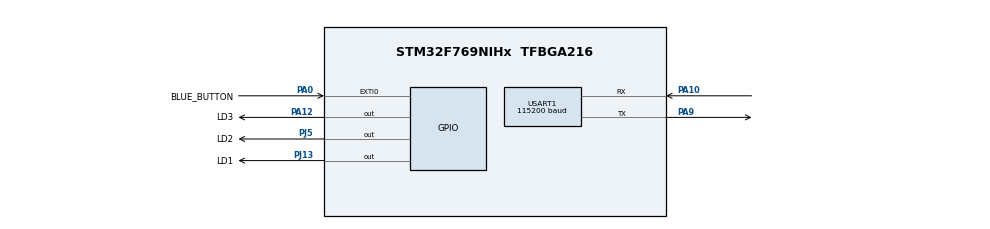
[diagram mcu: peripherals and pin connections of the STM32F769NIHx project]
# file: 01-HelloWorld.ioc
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Mcu.Family=STM32F7
Mcu.Name=STM32F769NIHx
Mcu.Package=TFBGA216
NVIC.EXTI0_IRQn=true\:0\:0\:false\:false\:true\:true\:true\:true
NVIC.PriorityGroup=NVIC_PRIORITYGROUP_4
NVIC.USART1_IRQn=true\:0\:0\:false\:false\:true\:true\:true\:true
PA0/WKUP.GPIO_Label=BLUE_BUTTON
PA0/WKUP.Signal=GPXTI0
PA10.Mode=Asynchronous
PA10.Signal=USART1_RX
PA12.GPIO_Label=LD3
PA12.Signal=GPIO_Output
PA13.Mode=Serial_Wire
PA13.Signal=SYS_JTMS-SWDIO
PA14.Mode=Serial_Wire
PA14.Signal=SYS_JTCK-SWCLK
PA9.Mode=Asynchronous
PA9.Signal=USART1_TX
PJ13.GPIO_Label=LD1
PJ13.Signal=GPIO_Output
PJ5.GPIO_Label=LD2
PJ5.Signal=GPIO_Output
ProjectManager.HeapSize=0x200
ProjectManager.StackSize=0x400
ProjectManager.TargetToolchain=STM32CubeIDE
RCC.HSE_VALUE=25000000
RCC.HSI_VALUE=16000000
RCC.LSE_VALUE=32768
RCC.USBFreq_Value=96000000
RCC.VCOOutputFreq_Value=192000000
USART1.BaudRate=115200
USART1.VirtualMode-Asynchronous=VM_ASYNC
board=custom

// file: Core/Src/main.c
/* USER CODE BEGIN Header */
/**
  ******************************************************************************
  * @file           : main.c
  * @brief          : Main program body
  ******************************************************************************
  * @attention
  *
  * <h2><center>&copy; Copyright (c) 2021 STMicroelectronics.
  * All rights reserved.</center></h2>
  *
  * This software component is licensed by ST under BSD 3-Clause license,
  * the "License"; You may not use this file except in compliance with the
  * License. You may obtain a copy of the License at:
  *                        opensource.org/licenses/BSD-3-Clause
  *
  ******************************************************************************
  */
/* USER CODE END Header */
#include "main.h"

/* USER CODE BEGIN PM */
#define LED_1_TASK_TIME       2000u   /* In milliseconds */
#define LED_2_TASK_TIME       1000u   /* In milliseconds */
#define DBG_UART_TASK_TIME    1000u   /* In milliseconds */
/* USER CODE END PM */

UART_HandleTypeDef huart1;

/* USER CODE BEGIN PV */
uint8_t led_1_state = FALSE;
uint8_t led_2_state = FALSE;
uint8_t led_3_state = FALSE;
uint8_t led_3_toggle = FALSE;

uint32_t led_1_timestamp = 0u;
uint32_t led_2_timestamp = 0u;
uint32_t dbg_uart_timestamp = 0u;

uint8_t rx_data = 0u;
/* USER CODE END PV */

void SystemClock_Config(void);
static void MX_GPIO_Init(void);
static void MX_USART1_UART_Init(void);

int main(void)
{

  /* MCU Configuration--------------------------------------------------------*/

  /* Reset of all peripherals, Initializes the Flash interface and the Systick. */
  HAL_Init();

  /* Configure the system clock */
  SystemClock_Config();

  /* Initialize all configured peripherals */
  MX_GPIO_Init();
  MX_USART1_UART_Init();
  /* USER CODE BEGIN 2 */
  led_1_timestamp = HAL_GetTick();
  led_2_timestamp = HAL_GetTick();
  dbg_uart_timestamp = HAL_GetTick();

  HAL_UART_Receive_IT(&huart1, &rx_data, 1u);
  /* USER CODE END 2 */

  /* Infinite loop */
  while (1)
  {

    /* USER CODE BEGIN 3 */
    /*----Method-1: Turning On and Off Individual Led's
    HAL_GPIO_WritePin( LD1_GPIO_Port, LD1_Pin, GPIO_PIN_SET );
    HAL_GPIO_WritePin( LD2_GPIO_Port, LD2_Pin, GPIO_PIN_SET );
    HAL_Delay(1000);
    HAL_GPIO_WritePin( LD1_GPIO_Port, LD1_Pin, GPIO_PIN_RESET );
    HAL_GPIO_WritePin( LD2_GPIO_Port, LD2_Pin, GPIO_PIN_RESET );
    HAL_Delay(1000);
    Method-1 Ends---*/
    /*----Method-2: Turning On and Off Individual Led's Using Toggle Function
    HAL_GPIO_TogglePin( LD1_GPIO_Port, LD1_Pin );
    HAL_GPIO_TogglePin( LD2_GPIO_Port, LD2_Pin );
    HAL_Delay(1000);
    Method-1 Ends---*/
    /*---Method-3: With the help of SysTick Timer---*/
    /* Task for Led 1 */
    if( HAL_GetTick() - led_1_timestamp > LED_1_TASK_TIME )
    {
      led_1_timestamp = HAL_GetTick();
      if( led_1_state )
      {
        led_1_state = FALSE;
        /* Setting Pin High will turn off the Led */
        HAL_GPIO_WritePin( LD1_GPIO_Port, LD1_Pin, GPIO_PIN_RESET );
      }
      else
      {
        led_1_state = TRUE;
        /* Setting Pin Low will turn on the Led */
        HAL_GPIO_WritePin( LD1_GPIO_Port, LD1_Pin, GPIO_PIN_SET );
      }
    }
    /* Task for Led 2 */
    if( HAL_GetTick() - led_2_timestamp > LED_2_TASK_TIME )
    {
      led_2_timestamp = HAL_GetTick();
      if( led_2_state )
      {
        led_2_state = FALSE;
        /* Setting Pin High will turn off the Led */
        HAL_GPIO_WritePin( LD2_GPIO_Port, LD2_Pin, GPIO_PIN_RESET );
      }
      else
      {
        led_2_state = TRUE;
        /* Setting Pin Low will turn on the Led */
        HAL_GPIO_WritePin( LD2_GPIO_Port, LD2_Pin, GPIO_PIN_SET );
      }
    }
    /*--External Interrupt Example, led_3_toggle variable is set inside the EXT Interrupt  --*/
    if( led_3_toggle == TRUE )
    {
      led_3_toggle = FALSE;
      /*--Below Function can be used directly, but to display on CubeMonitor, I am using this method--*/
      // HAL_GPIO_TogglePin( LD3_GPIO_Port, LD3_Pin );
      if( led_3_state )
      {
        led_3_state = FALSE;
        HAL_GPIO_WritePin( LD3_GPIO_Port, LD3_Pin, GPIO_PIN_RESET );
      }
      else
      {
        led_3_state = TRUE;
        HAL_GPIO_WritePin( LD3_GPIO_Port, LD3_Pin, GPIO_PIN_SET );
      }
    }
    /*--UART1 is connected to VCOM of PC using ST-Link--*/
    if( HAL_GetTick() - dbg_uart_timestamp > DBG_UART_TASK_TIME )
    {
      uint8_t text[] = "Hello World from STM32F7\r\n";
      dbg_uart_timestamp = HAL_GetTick();
      // NOTE: length is sizeof(text)-1, else NULL character will also be transmitted, which is not needed
      // if( HAL_UART_Transmit(&huart1, text, (sizeof(text)-1u), 1000u) != HAL_OK )
      if( HAL_UART_Transmit_IT(&huart1, text, (sizeof(text)-1u) ) != HAL_OK )
      {
        /*--All HAL functions returns HAL_OK, if not call Erro Handler function for analysis of fault--*/
        Error_Handler();
      }
    }
  }
  /* USER CODE END 3 */
}

void SystemClock_Config(void)
{
  RCC_OscInitTypeDef RCC_OscInitStruct = {0};
  RCC_ClkInitTypeDef RCC_ClkInitStruct = {0};

  /** Configure the main internal regulator output voltage
  */
  __HAL_RCC_PWR_CLK_ENABLE();
  __HAL_PWR_VOLTAGESCALING_CONFIG(PWR_REGULATOR_VOLTAGE_SCALE3);

  /** Initializes the RCC Oscillators according to the specified parameters
  * in the RCC_OscInitTypeDef structure.
  */
  RCC_OscInitStruct.OscillatorType = RCC_OSCILLATORTYPE_HSI;
  RCC_OscInitStruct.HSIState = RCC_HSI_ON;
  RCC_OscInitStruct.HSICalibrationValue = RCC_HSICALIBRATION_DEFAULT;
  RCC_OscInitStruct.PLL.PLLState = RCC_PLL_NONE;
  if (HAL_RCC_OscConfig(&RCC_OscInitStruct) != HAL_OK)
  {
    Error_Handler();
  }

  /** Initializes the CPU, AHB and APB buses clocks
  */
  RCC_ClkInitStruct.ClockType = RCC_CLOCKTYPE_HCLK|RCC_CLOCKTYPE_SYSCLK
                              |RCC_CLOCKTYPE_PCLK1|RCC_CLOCKTYPE_PCLK2;
  RCC_ClkInitStruct.SYSCLKSource = RCC_SYSCLKSOURCE_HSI;
  RCC_ClkInitStruct.AHBCLKDivider = RCC_SYSCLK_DIV1;
  RCC_ClkInitStruct.APB1CLKDivider = RCC_HCLK_DIV1;
  RCC_ClkInitStruct.APB2CLKDivider = RCC_HCLK_DIV1;

  if (HAL_RCC_ClockConfig(&RCC_ClkInitStruct, FLASH_LATENCY_0) != HAL_OK)
  {
    Error_Handler();
  }
}

static void MX_USART1_UART_Init(void)
{

  huart1.Instance = USART1;
  huart1.Init.BaudRate = 115200;
  huart1.Init.WordLength = UART_WORDLENGTH_8B;
  huart1.Init.StopBits = UART_STOPBITS_1;
  huart1.Init.Parity = UART_PARITY_NONE;
  huart1.Init.Mode = UART_MODE_TX_RX;
  huart1.Init.HwFlowCtl = UART_HWCONTROL_NONE;
  huart1.Init.OverSampling = UART_OVERSAMPLING_16;
  huart1.Init.OneBitSampling = UART_ONE_BIT_SAMPLE_DISABLE;
  huart1.AdvancedInit.AdvFeatureInit = UART_ADVFEATURE_NO_INIT;
  if (HAL_UART_Init(&huart1) != HAL_OK)
  {
    Error_Handler();
  }

}

static void MX_GPIO_Init(void)
{
  GPIO_InitTypeDef GPIO_InitStruct = {0};

  /* GPIO Ports Clock Enable */
  __HAL_RCC_GPIOA_CLK_ENABLE();
  __HAL_RCC_GPIOJ_CLK_ENABLE();

  /*Configure GPIO pin Output Level */
  HAL_GPIO_WritePin(GPIOJ, LD1_Pin|LD2_Pin, GPIO_PIN_RESET);

  /*Configure GPIO pin Output Level */
  HAL_GPIO_WritePin(LD3_GPIO_Port, LD3_Pin, GPIO_PIN_RESET);

  /*Configure GPIO pins : LD1_Pin LD2_Pin */
  GPIO_InitStruct.Pin = LD1_Pin|LD2_Pin;
  GPIO_InitStruct.Mode = GPIO_MODE_OUTPUT_PP;
  GPIO_InitStruct.Pull = GPIO_NOPULL;
  GPIO_InitStruct.Speed = GPIO_SPEED_FREQ_LOW;
  HAL_GPIO_Init(GPIOJ, &GPIO_InitStruct);

  /*Configure GPIO pin : LD3_Pin */
  GPIO_InitStruct.Pin = LD3_Pin;
  GPIO_InitStruct.Mode = GPIO_MODE_OUTPUT_PP;
  GPIO_InitStruct.Pull = GPIO_NOPULL;
  GPIO_InitStruct.Speed = GPIO_SPEED_FREQ_LOW;
  HAL_GPIO_Init(LD3_GPIO_Port, &GPIO_InitStruct);

  /*Configure GPIO pin : BLUE_BUTTON_Pin */
  GPIO_InitStruct.Pin = BLUE_BUTTON_Pin;
  GPIO_InitStruct.Mode = GPIO_MODE_IT_RISING;
  GPIO_InitStruct.Pull = GPIO_NOPULL;
  HAL_GPIO_Init(BLUE_BUTTON_GPIO_Port, &GPIO_InitStruct);

  /* EXTI interrupt init*/
  HAL_NVIC_SetPriority(EXTI0_IRQn, 0, 0);
  HAL_NVIC_EnableIRQ(EXTI0_IRQn);

}

/* USER CODE BEGIN 4 */
/**
  * @brief  EXTI line detection callbacks.
  * @param  GPIO_Pin Specifies the pins connected EXTI line
  * @retval None
  */
void HAL_GPIO_EXTI_Callback(uint16_t GPIO_Pin)
{
  /* Prevent unused argument(s) compilation warning */
  UNUSED(GPIO_Pin);

  if( GPIO_Pin == BLUE_BUTTON_Pin )
  {
    /*--Set this flag to toggle the LD3 on the board, whenever button is pressed--*/
    led_3_toggle = TRUE;
    /*--NOTE: there is no need to clear the flags as they are already cleared in the previous functions--*/
  }
}

/**
  * @brief  Rx Transfer completed callback.
  * @param  huart UART handle.
  * @retval None
  */
void HAL_UART_RxCpltCallback(UART_HandleTypeDef *huart)
{
  /* Prevent unused argument(s) compilation warning */
  UNUSED(huart);
  if (huart->Instance == USART1)
  {
    HAL_UART_Transmit_IT(huart, &rx_data, 1u );
    HAL_UART_Receive_IT(huart, &rx_data, 1u );
  }
}

/* USER CODE END 4 */

void Error_Handler(void)
{
  __disable_irq();
  while (1)
  {
  }
}
